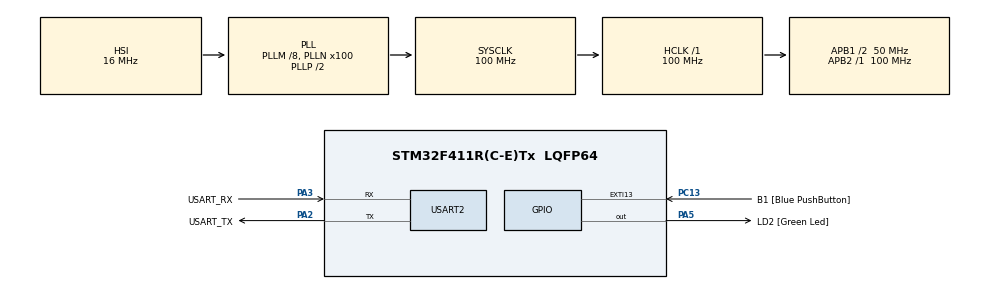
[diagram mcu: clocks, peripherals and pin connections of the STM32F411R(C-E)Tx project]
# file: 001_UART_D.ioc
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Mcu.Family=STM32F4
Mcu.Name=STM32F411R(C-E)Tx
Mcu.Package=LQFP64
NVIC.PriorityGroup=NVIC_PRIORITYGROUP_0
NVIC.USART2_IRQn=true\:0\:0\:false\:true\:true\:1\:true\:true\:true
PA13.GPIO_Label=TMS
PA13.Signal=SYS_JTMS-SWDIO
PA14.GPIO_Label=TCK
PA14.Signal=SYS_JTCK-SWCLK
PA2.GPIO_Label=USART_TX
PA2.Mode=Asynchronous
PA2.Signal=USART2_TX
PA3.GPIO_Label=USART_RX
PA3.Mode=Asynchronous
PA3.Signal=USART2_RX
PA5.GPIO_Label=LD2 [Green Led]
PA5.Signal=GPIO_Output
PB3.GPIO_Label=SWO
PB3.Signal=SYS_JTDO-SWO
PC13-ANTI_TAMP.GPIO_Label=B1 [Blue PushButton]
PC13-ANTI_TAMP.GPIO_ModeDefaultEXTI=GPIO_MODE_IT_FALLING
PC13-ANTI_TAMP.Signal=GPXTI13
PC14-OSC32_IN.Mode=LSE-External-Oscillator
PC14-OSC32_IN.Signal=RCC_OSC32_IN
PC15-OSC32_OUT.Mode=LSE-External-Oscillator
PC15-OSC32_OUT.Signal=RCC_OSC32_OUT
PH0\ -\ OSC_IN.Mode=HSE-External-Clock-Source
PH0\ -\ OSC_IN.Signal=RCC_OSC_IN
PH1\ -\ OSC_OUT.Mode=HSE-External-Clock-Source
PH1\ -\ OSC_OUT.Signal=RCC_OSC_OUT
ProjectManager.HeapSize=0x200
ProjectManager.StackSize=0x400
ProjectManager.TargetToolchain=CMake
RCC.48MHZClocksFreq_Value=50000000
RCC.AHBFreq_Value=100000000
RCC.APB1CLKDivider=RCC_HCLK_DIV2
RCC.APB1Freq_Value=50000000
RCC.APB1TimFreq_Value=100000000
RCC.APB2Freq_Value=100000000
RCC.APB2TimFreq_Value=100000000
RCC.CortexFreq_Value=100000000
RCC.FLatency-AdvancedSettings=FLASH_LATENCY_3
RCC.HCLKFreq_Value=100000000
RCC.HSE_VALUE=8000000
RCC.HSI_VALUE=16000000
RCC.PLLM=8
RCC.PLLN=100
RCC.RCC_RTC_Clock_Source=RCC_RTCCLKSOURCE_LSE
RCC.RCC_RTC_Clock_SourceVirtual=RCC_RTCCLKSOURCE_LSE
RCC.SYSCLKFreq_VALUE=100000000
RCC.SYSCLKSource=RCC_SYSCLKSOURCE_PLLCLK
RCC.VCOOutputFreq_Value=200000000
USART2.VirtualMode=VM_ASYNC
VP_RTC_VS_RTC_Activate.Mode=RTC_Enabled
board=NUCLEO-F411RE

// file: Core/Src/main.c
/* USER CODE BEGIN Header */
/**
  ******************************************************************************
  * @file           : main.c
  * @brief          : Main program body
  ******************************************************************************
  * @attention
  *
  * Copyright (c) 2025 STMicroelectronics.
  * All rights reserved.
  *
  * This software is licensed under terms that can be found in the LICENSE file
  * in the root directory of this software component.
  * If no LICENSE file comes with this software, it is provided AS-IS.
  *
  ******************************************************************************
  */
/* USER CODE END Header */
#include "main.h"

/* USER CODE BEGIN Includes */
#include <string.h>
#include <stdio.h>
/* USER CODE END Includes */

RTC_HandleTypeDef hrtc;

UART_HandleTypeDef huart2;

/* USER CODE BEGIN PV */
uint8_t receivedChar; //uart로 입력된 문자 1개를 저장할 수 있는 변수를 설정 -> 인터럽트 방식으로 수신 시 HAL_UART_Receive_IT()에 결과를 저장
volatile uint32_t idle_counter = 0;
uint32_t prevTick = 0;
/* USER CODE END PV */

void SystemClock_Config(void);
static void MX_GPIO_Init(void);
static void MX_RTC_Init(void);
static void MX_USART2_UART_Init(void);
static void MX_NVIC_Init(void);

int main(void)
{

  /* MCU Configuration--------------------------------------------------------*/

  /* Reset of all peripherals, Initializes the Flash interface and the Systick. */
  HAL_Init();

  /* Configure the system clock */
  SystemClock_Config();

  /* Initialize all configured peripherals */
  MX_GPIO_Init();
  MX_RTC_Init();
  MX_USART2_UART_Init();

  /* Initialize interrupts */
  MX_NVIC_Init();
  /* USER CODE BEGIN 2 */
  char* msg = "Hello World\r\n";
  HAL_UART_Transmit(&huart2, (uint8_t*)msg, strlen(msg), HAL_MAX_DELAY);

  HAL_UART_Receive_IT(&huart2, &receivedChar, 1);
  //USART2 포트를 통해서 통신, 수신한 문제를 receivedChar에 저장, 1바트만 수신하면 된다. -> 이렇게 명령해서 작동이 되면 HAL_UART_RxCpltCallback() 함수가 호출된다.
  /* USER CODE END 2 */

  /* Infinite loop */
  /* USER CODE BEGIN WHILE */
  while (1)
  {
    idle_counter++;  // idle 상태 카운터 증가

  // 1초마다 idle_counter UART 전송
  if (HAL_GetTick() - prevTick >= 1000)  // 1000ms = 1초
  {
    prevTick = HAL_GetTick();

    char msg[64];
    sprintf(msg, "\r\n[CPU] Idle Counter = %lu\r\n", idle_counter);
    HAL_UART_Transmit(&huart2, (uint8_t*)msg, strlen(msg), HAL_MAX_DELAY);

    idle_counter = 0;
    /* USER CODE END WHILE */

  }
}
}

void SystemClock_Config(void)
{
  RCC_OscInitTypeDef RCC_OscInitStruct = {0};
  RCC_ClkInitTypeDef RCC_ClkInitStruct = {0};

  /** Configure the main internal regulator output voltage
  */
  __HAL_RCC_PWR_CLK_ENABLE();
  __HAL_PWR_VOLTAGESCALING_CONFIG(PWR_REGULATOR_VOLTAGE_SCALE1);

  /** Initializes the RCC Oscillators according to the specified parameters
  * in the RCC_OscInitTypeDef structure.
  */
  RCC_OscInitStruct.OscillatorType = RCC_OSCILLATORTYPE_HSI|RCC_OSCILLATORTYPE_LSE;
  RCC_OscInitStruct.LSEState = RCC_LSE_ON;
  RCC_OscInitStruct.HSIState = RCC_HSI_ON;
  RCC_OscInitStruct.HSICalibrationValue = RCC_HSICALIBRATION_DEFAULT;
  RCC_OscInitStruct.PLL.PLLState = RCC_PLL_ON;
  RCC_OscInitStruct.PLL.PLLSource = RCC_PLLSOURCE_HSI;
  RCC_OscInitStruct.PLL.PLLM = 8;
  RCC_OscInitStruct.PLL.PLLN = 100;
  RCC_OscInitStruct.PLL.PLLP = RCC_PLLP_DIV2;
  RCC_OscInitStruct.PLL.PLLQ = 4;
  if (HAL_RCC_OscConfig(&RCC_OscInitStruct) != HAL_OK)
  {
    Error_Handler();
  }

  /** Initializes the CPU, AHB and APB buses clocks
  */
  RCC_ClkInitStruct.ClockType = RCC_CLOCKTYPE_HCLK|RCC_CLOCKTYPE_SYSCLK
                              |RCC_CLOCKTYPE_PCLK1|RCC_CLOCKTYPE_PCLK2;
  RCC_ClkInitStruct.SYSCLKSource = RCC_SYSCLKSOURCE_PLLCLK;
  RCC_ClkInitStruct.AHBCLKDivider = RCC_SYSCLK_DIV1;
  RCC_ClkInitStruct.APB1CLKDivider = RCC_HCLK_DIV2;
  RCC_ClkInitStruct.APB2CLKDivider = RCC_HCLK_DIV1;

  if (HAL_RCC_ClockConfig(&RCC_ClkInitStruct, FLASH_LATENCY_3) != HAL_OK)
  {
    Error_Handler();
  }
}

/**
  * @brief NVIC Configuration.
  * @retval None
  */
static void MX_NVIC_Init(void)
{
  /* USART2_IRQn interrupt configuration */
  HAL_NVIC_SetPriority(USART2_IRQn, 0, 0);
  HAL_NVIC_EnableIRQ(USART2_IRQn);
}

static void MX_RTC_Init(void)
{

  /** Initialize RTC Only
  */
  hrtc.Instance = RTC;
  hrtc.Init.HourFormat = RTC_HOURFORMAT_24;
  hrtc.Init.AsynchPrediv = 127;
  hrtc.Init.SynchPrediv = 255;
  hrtc.Init.OutPut = RTC_OUTPUT_DISABLE;
  hrtc.Init.OutPutPolarity = RTC_OUTPUT_POLARITY_HIGH;
  hrtc.Init.OutPutType = RTC_OUTPUT_TYPE_OPENDRAIN;
  if (HAL_RTC_Init(&hrtc) != HAL_OK)
  {
    Error_Handler();
  }

}

static void MX_USART2_UART_Init(void)
{

  huart2.Instance = USART2;
  huart2.Init.BaudRate = 115200;
  huart2.Init.WordLength = UART_WORDLENGTH_8B;
  huart2.Init.StopBits = UART_STOPBITS_1;
  huart2.Init.Parity = UART_PARITY_NONE;
  huart2.Init.Mode = UART_MODE_TX_RX;
  huart2.Init.HwFlowCtl = UART_HWCONTROL_NONE;
  huart2.Init.OverSampling = UART_OVERSAMPLING_16;
  if (HAL_UART_Init(&huart2) != HAL_OK)
  {
    Error_Handler();
  }

}

static void MX_GPIO_Init(void)
{
  GPIO_InitTypeDef GPIO_InitStruct = {0};

  /* GPIO Ports Clock Enable */
  __HAL_RCC_GPIOC_CLK_ENABLE();
  __HAL_RCC_GPIOH_CLK_ENABLE();
  __HAL_RCC_GPIOA_CLK_ENABLE();
  __HAL_RCC_GPIOB_CLK_ENABLE();

  /*Configure GPIO pin Output Level */
  HAL_GPIO_WritePin(LD2_GPIO_Port, LD2_Pin, GPIO_PIN_RESET);

  /*Configure GPIO pin : B1_Pin */
  GPIO_InitStruct.Pin = B1_Pin;
  GPIO_InitStruct.Mode = GPIO_MODE_IT_FALLING;
  GPIO_InitStruct.Pull = GPIO_NOPULL;
  HAL_GPIO_Init(B1_GPIO_Port, &GPIO_InitStruct);

  /*Configure GPIO pin : LD2_Pin */
  GPIO_InitStruct.Pin = LD2_Pin;
  GPIO_InitStruct.Mode = GPIO_MODE_OUTPUT_PP;
  GPIO_InitStruct.Pull = GPIO_NOPULL;
  GPIO_InitStruct.Speed = GPIO_SPEED_FREQ_LOW;
  HAL_GPIO_Init(LD2_GPIO_Port, &GPIO_InitStruct);

}

/* USER CODE BEGIN 4 */
void HAL_UART_RxCpltCallback(UART_HandleTypeDef *huart) //HAL_UART_Receive_IT()로 등록된 수신이 성공하면 호출됨
{
  if (huart->Instance == USART2) //USART2에서 수신된 경우만 처리
  {
    // 개행 문자(enter)는 무시하고, 다음 문자 수신만 대기
    if (receivedChar == '\r' || receivedChar == '\n')
    {
      HAL_UART_Receive_IT(&huart2, &receivedChar, 1);
      return;
    }

    char outputChar = 0; //UART로 받은 문자를 판단해서 출력할 문자를 저장할 변수

    switch (receivedChar) //입력된 문자(receivedChar)를 기준으로 분기
    {
      case '1':
        outputChar = 'A';
        break;
      case '2':
        outputChar = 'B';
        break;
      case '3':
        outputChar = 'C';
        break;
      default:
        outputChar = '?'; // 디버깅용, 필요 없으면 삭제 가능
        break;
    }

    HAL_UART_Transmit(&huart2, (uint8_t *)&outputChar, 1, HAL_MAX_DELAY);
    //처리된 문자(outputChar)를 UART2로 1바이트 전송
    //HAL_MAX_DELAY: 블로킹 방식으로 전송 완료까지 무한 대기

    // 다음 수신 재등록
    HAL_UART_Receive_IT(&huart2, &receivedChar, 1);
  }
}

/* USER CODE END 4 */

void Error_Handler(void)
{
  __disable_irq();
  while (1)
  {
  }
}
